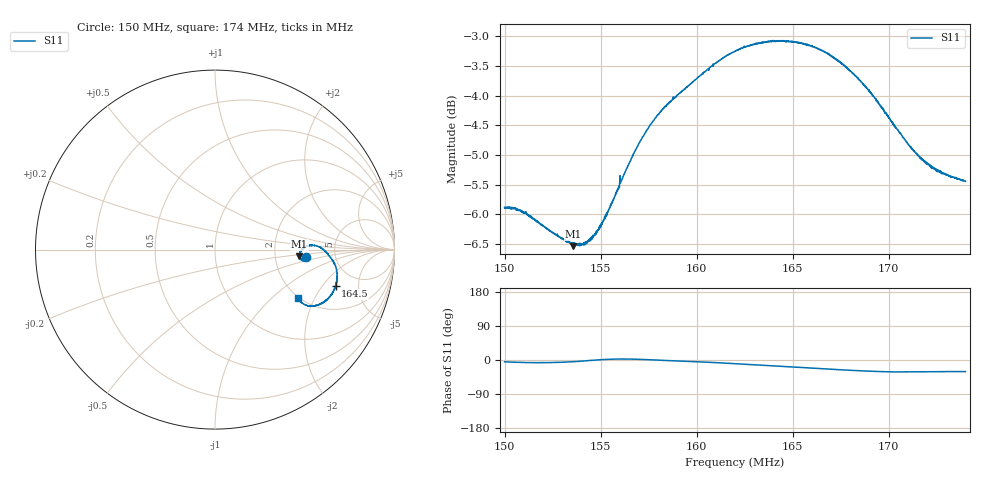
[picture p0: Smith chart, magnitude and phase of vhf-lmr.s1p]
! Calibrated averaged scanner-service zoom
# Hz S RI R 50
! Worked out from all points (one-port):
!   2001 points, 150 MHz to 174 MHz, reference 50 ohm
!   lowest |S11| = -6.5 dB at 153.6 MHz (marker M1), VSWR 2.78, Z = 138 - j13.3 ohm
!   |S11| at or under -10 dB: nowhere
!   S11 on the Smith chart (normalised r, x): 150 MHz: 3.02, -0.35; 164.5 MHz: 3.41, -2.73; 174 MHz: 1.95, -1.49
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1.5e8  0.5061 -0.0429
1.51008e8  0.4994 -0.0567
1.51548e8  0.4927 -0.0611
1.52316e8  0.4827 -0.0562
1.53e8  0.4759 -0.0483
1.53564e8  0.4696 -0.0376
1.54176e8  0.472 -0.0197
1.5474e8  0.4837 -0.00188
1.55424e8  0.5055 0.0164
1.56e8  0.5332 0.0222
1.56684e8  0.5611 0.022
1.57536e8  0.5946 0.00725
1.58256e8  0.6152 -0.01
1.59e8  0.6309 -0.0283
1.6062e8  0.6597 -0.0682
1.62e8  0.6779 -0.1155
1.63176e8  0.6801 -0.1579
1.6446e8  0.6721 -0.2031
1.65e8  0.6645 -0.2207
1.66464e8  0.6355 -0.2665
1.68e8  0.5888 -0.3021
1.68708e8  0.5651 -0.3109
1.6944e8  0.5376 -0.3148
1.701e8  0.515 -0.3117
1.71e8  0.4899 -0.3009
1.7226e8  0.4715 -0.283
1.73244e8  0.4639 -0.274
1.74e8  0.46 -0.272
